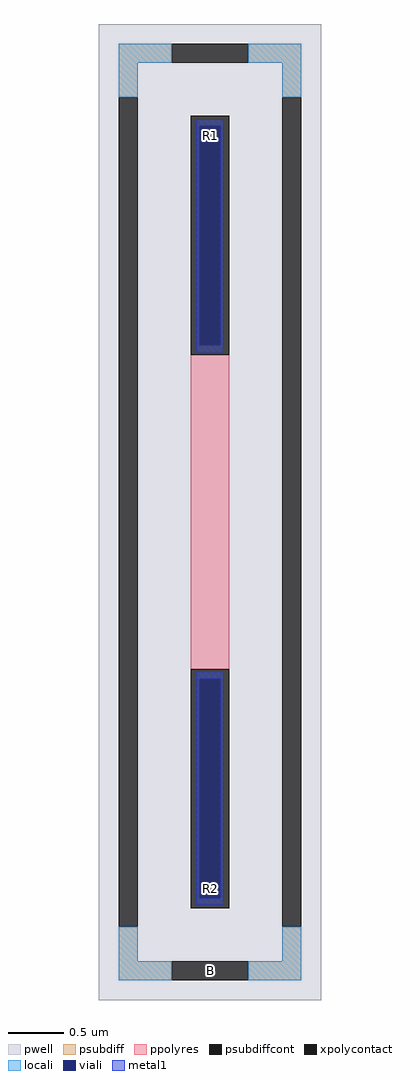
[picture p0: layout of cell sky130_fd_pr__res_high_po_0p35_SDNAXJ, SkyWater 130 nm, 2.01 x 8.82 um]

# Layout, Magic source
magic
tech sky130A
magscale 1 2
<< pwell >>
rect -201 -882 201 882
<< psubdiff >>
rect -165 812 -69 846
rect 69 812 165 846
rect -165 750 -131 812
rect 131 750 165 812
rect -165 -812 -131 -750
rect 131 -812 165 -750
rect -165 -846 -69 -812
rect 69 -846 165 -812
<< psubdiffcont >>
rect -69 812 69 846
rect -165 -750 -131 750
rect 131 -750 165 750
rect -69 -846 69 -812
<< xpolycontact >>
rect -35 284 35 716
rect -35 -716 35 -284
<< ppolyres >>
rect -35 -284 35 284
<< locali >>
rect -165 812 -69 846
rect 69 812 165 846
rect -165 750 -131 812
rect 131 750 165 812
rect -165 -812 -131 -750
rect 131 -812 165 -750
rect -165 -846 -69 -812
rect 69 -846 165 -812
<< viali >>
rect -19 301 19 698
rect -19 -698 19 -301
<< metal1 >>
rect -25 698 25 710
rect -25 301 -19 698
rect 19 301 25 698
rect -25 289 25 301
rect -25 -301 25 -289
rect -25 -698 -19 -301
rect 19 -698 25 -301
rect -25 -710 25 -698
<< labels >>
rlabel psubdiffcont 0 -829 0 -829 0 B
port 1 nsew
rlabel xpolycontact 0 681 0 681 0 R1
port 2 nsew
rlabel xpolycontact 0 -681 0 -681 0 R2
port 3 nsew
<< properties >>
string FIXED_BBOX -148 -829 148 829
string gencell sky130_fd_pr__res_high_po_0p35
string library sky130
string parameters w 0.35 l 3.0 m 1 nx 1 wmin 0.350 lmin 0.50 class resistor rho 319.8 val 3.854k dummy 0 dw 0.0 term 194.82 sterm 0.0 caplen 0 guard 1 glc 1 grc 1 gtc 1 gbc 1 compatible {sky130_fd_pr__res_high_po_0p35  sky130_fd_pr__res_high_po_0p69 sky130_fd_pr__res_high_po_1p41  sky130_fd_pr__res_high_po_2p85 sky130_fd_pr__res_high_po_5p73} snake 0 full_metal 1 wmax 0.350 vias 1 n_guard 0 hv_guard 0 viagb 0 viagt 0 viagl 0 viagr 0 doports 1
<< end >>
